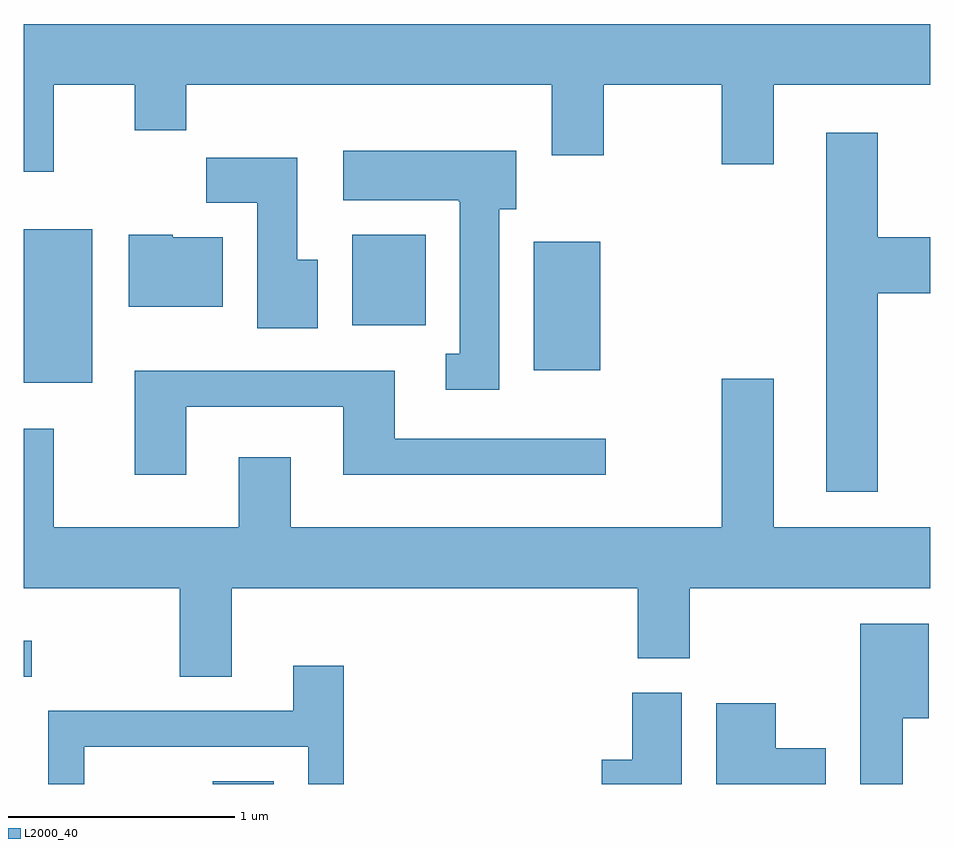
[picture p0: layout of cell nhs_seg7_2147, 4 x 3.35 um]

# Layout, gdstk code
import gdstk
lib = gdstk.Library(unit=1e-6, precision=1e-09)
def R(c, l, rs):  # rectangles x0, y0, x1, y1
    for r in rs: c.add(gdstk.rectangle(r[:2], r[2:], *l))
def P(c, l, *ps):  # polygons
    for p in ps: c.add(gdstk.Polygon(p, *l))
L2000_40 = (2000, 40)

nhs_seg7_2147 = lib.new_cell('nhs_seg7_2147')
R(nhs_seg7_2147, L2000_40, [(250.446,1802.252,250.714,1802.264), (249.611,1802.726,249.648,1802.884), (249.611,1804.021,249.914,1804.699), (251.861,1804.076,252.154,1804.644), (251.061,1804.276,251.384,1804.674)])
P(nhs_seg7_2147, L2000_40, [(249.744,1805.336),(250.101,1805.336),(250.101,1805.136),(250.329,1805.136),(250.329,1805.336),(251.941,1805.336),(251.941,1805.026),(252.169,1805.026),(252.169,1805.336),(252.691,1805.336),(252.691,1804.986),(252.919,1804.986),(252.919,1805.336),(253.611,1805.336),(253.611,1805.604),(249.611,1805.604),(249.611,1804.953),(249.744,1804.953)],
  [(253.379,1804.416),(253.611,1804.416),(253.611,1804.664),(253.379,1804.664),(253.379,1805.124),(253.151,1805.124),(253.151,1803.541),(253.379,1803.541)],
  [(251.709,1804.786),(251.784,1804.786),(251.784,1805.044),(251.021,1805.044),(251.021,1804.826),(251.53,1804.826),(251.53,1804.82),(251.536,1804.82),(251.536,1804.149),(251.473,1804.149),(251.473,1803.991),(251.709,1803.991)],
  [(250.909,1804.564),(250.819,1804.564),(250.819,1805.014),(250.416,1805.014),(250.416,1804.816),(250.641,1804.816),(250.641,1804.261),(250.909,1804.261)],
  [(250.489,1804.664),(250.27,1804.664),(250.27,1804.674),(250.076,1804.674),(250.076,1804.356),(250.489,1804.356)],
  [(250.329,1803.916),(251.021,1803.916),(251.021,1803.616),(252.178,1803.616),(252.178,1803.774),(251.249,1803.774),(251.249,1804.074),(250.101,1804.074),(250.101,1803.616),(250.329,1803.616)],
  [(250.529,1803.116),(252.321,1803.116),(252.321,1802.806),(252.549,1802.806),(252.549,1803.116),(253.611,1803.116),(253.611,1803.384),(252.919,1803.384),(252.919,1804.039),(252.691,1804.039),(252.691,1803.384),(250.789,1803.384),(250.789,1803.694),(250.561,1803.694),(250.561,1803.384),(249.744,1803.384),(249.744,1803.818),(249.611,1803.818),(249.611,1803.116),(250.301,1803.116),(250.301,1802.726),(250.529,1802.726)],
  [(253.489,1802.541),(253.604,1802.541),(253.604,1802.959),(253.301,1802.959),(253.301,1802.252),(253.489,1802.252)],
  [(249.879,1802.416),(250.866,1802.416),(250.866,1802.252),(251.024,1802.252),(251.024,1802.774),(250.801,1802.774),(250.801,1802.574),(249.721,1802.574),(249.721,1802.252),(249.879,1802.252)],
  [(252.514,1802.654),(252.296,1802.654),(252.296,1802.359),(252.161,1802.359),(252.161,1802.252),(252.514,1802.252)],
  [(253.149,1802.409),(252.929,1802.409),(252.929,1802.609),(252.666,1802.609),(252.666,1802.252),(253.149,1802.252)])

lib.write_gds('nhs_seg7_2147.gds')
